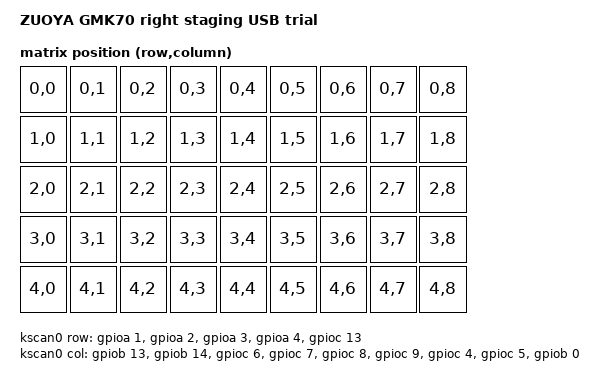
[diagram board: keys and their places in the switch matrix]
/* SPDX-License-Identifier: Apache-2.0 */
/dts-v1/;
#include <westberry/wb32fq95.dtsi>
#include <dt-bindings/zmk/matrix_transform.h>

/ {
    model = "ZUOYA GMK70 right staging USB trial";
    compatible = "zuoya,gmk70-right";
    chosen {
        zephyr,sram = &sram0;
        zephyr,flash = &flash0;
        zephyr,usb-device = &usb0;
        zmk,kscan = &kscan0;
        zmk,matrix-transform = &default_transform;
    };
    kscan0: kscan {
        compatible = "zmk,kscan-gpio-matrix";
        diode-direction = "row2col";
        debounce-press-ms = <5>;
        debounce-release-ms = <5>;
        poll-period-ms = <5>;
        row-gpios = <&gpioa 1 GPIO_ACTIVE_HIGH>, <&gpioa 2 GPIO_ACTIVE_HIGH>,
                    <&gpioa 3 GPIO_ACTIVE_HIGH>, <&gpioa 4 GPIO_ACTIVE_HIGH>,
                    <&gpioc 13 GPIO_ACTIVE_HIGH>;
        col-gpios = <&gpiob 13 (GPIO_ACTIVE_HIGH | GPIO_PULL_DOWN)>,
                    <&gpiob 14 (GPIO_ACTIVE_HIGH | GPIO_PULL_DOWN)>,
                    <&gpioc 6 (GPIO_ACTIVE_HIGH | GPIO_PULL_DOWN)>,
                    <&gpioc 7 (GPIO_ACTIVE_HIGH | GPIO_PULL_DOWN)>,
                    <&gpioc 8 (GPIO_ACTIVE_HIGH | GPIO_PULL_DOWN)>,
                    <&gpioc 9 (GPIO_ACTIVE_HIGH | GPIO_PULL_DOWN)>,
                    <&gpioc 4 (GPIO_ACTIVE_HIGH | GPIO_PULL_DOWN)>,
                    <&gpioc 5 (GPIO_ACTIVE_HIGH | GPIO_PULL_DOWN)>,
                    <&gpiob 0 (GPIO_ACTIVE_HIGH | GPIO_PULL_DOWN)>;
    };
    default_transform: keymap_transform {
        compatible = "zmk,matrix-transform";
        rows = <5>;
        columns = <9>;
        map = <
            RC(0,0) RC(0,1) RC(0,2) RC(0,3) RC(0,4) RC(0,5) RC(0,6) RC(0,7) RC(0,8)
            RC(1,0) RC(1,1) RC(1,2) RC(1,3) RC(1,4) RC(1,5) RC(1,6) RC(1,7) RC(1,8)
            RC(2,0) RC(2,1) RC(2,2) RC(2,3) RC(2,4) RC(2,5) RC(2,6) RC(2,7) RC(2,8)
            RC(3,0) RC(3,1) RC(3,2) RC(3,3) RC(3,4) RC(3,5) RC(3,6) RC(3,7) RC(3,8)
            RC(4,0) RC(4,1) RC(4,2) RC(4,3) RC(4,4) RC(4,5) RC(4,6) RC(4,7) RC(4,8)
        >;
    };
};
&usb0 { status = "okay"; };
